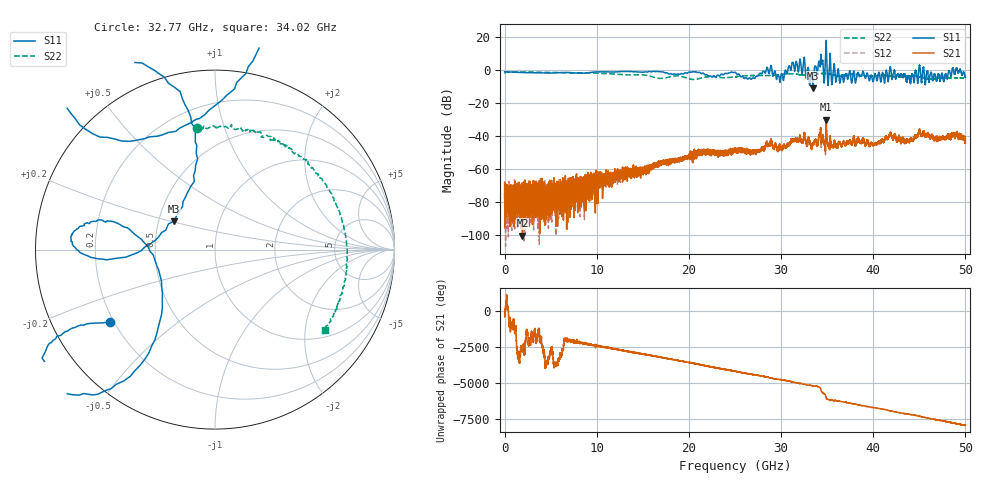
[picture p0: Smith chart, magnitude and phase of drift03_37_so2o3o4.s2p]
!Created with skrf (http://scikit-rf.org).
# Hz S RI R 50.0
!freq ReS11 ImS11 ReS21 ImS21 ReS12 ImS12 ReS22 ImS22
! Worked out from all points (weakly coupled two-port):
!   10001 points, 300 kHz to 50 GHz, reference 50 ohm
!   highest |S21| = -30.24 dB at 34.89 GHz (marker M1); lowest = -100.1 dB at 1.94 GHz (marker M2)
!   lowest |S11| = -11.1 dB at 33.47 GHz (marker M3), VSWR 1.77, Z = 30.1 + j10.3 ohm
!   |S11| at or under -10 dB: 33.44812 GHz to 33.48396 GHz (35.84 MHz wide, 0.107 % of centre)
!   |S22| runs from -5.9 to -1.3 dB; largest |S21 - S12| = 0.006
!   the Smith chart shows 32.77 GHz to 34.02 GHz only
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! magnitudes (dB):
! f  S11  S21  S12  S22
! 300 kHz  -1.3  -68.0  -74.7  -2.1
! 270.3 MHz  -1.3  -77.2  -80.2  -1.4
! 1.94 GHz  -1.8  -100.1  -77.5  -1.3
! 8.335 GHz  -2.2  -67.6  -66.1  -1.9
! 16.67 GHz  -1.1  -56.8  -57.2  -5.2
! 25 GHz  -1.5  -48.9  -49.1  -4.3
! 26.92 GHz  -4.9  -48.4  -49.8  -3.6
! 28.73 GHz  -2.2  -45.0  -46.3  -3.5
! 30.06 GHz  -2.5  -47.2  -47.7  -2.8
! 31.87 GHz  -1.4  -42.6  -42.1  -2.9
! 33.34 GHz  -2.1  -47.3  -46.7  -2.9
! 33.47 GHz  -11.1  -45.1  -44.7  -2.8
! 34.3 GHz  7.3  -34.9  -35.7  -2.3
! 34.89 GHz  16.8  -30.2  -31.8  -2.4
! 36.58 GHz  -3.4  -46.6  -46.0  -3.5
! 40.15 GHz  -3.0  -44.3  -44.3  -3.8
! 41.67 GHz  -5.6  -40.5  -40.5  -3.7
! 43.84 GHz  -3.5  -43.4  -44.2  -3.9
! 45.18 GHz  -4.9  -39.8  -38.9  -4.5
! 47.07 GHz  -2.9  -42.3  -41.5  -5.1
! 49.22 GHz  -2.1  -39.6  -40.0  -5.1
! 50 GHz  -4.7  -44.0  -42.9  -4.9
